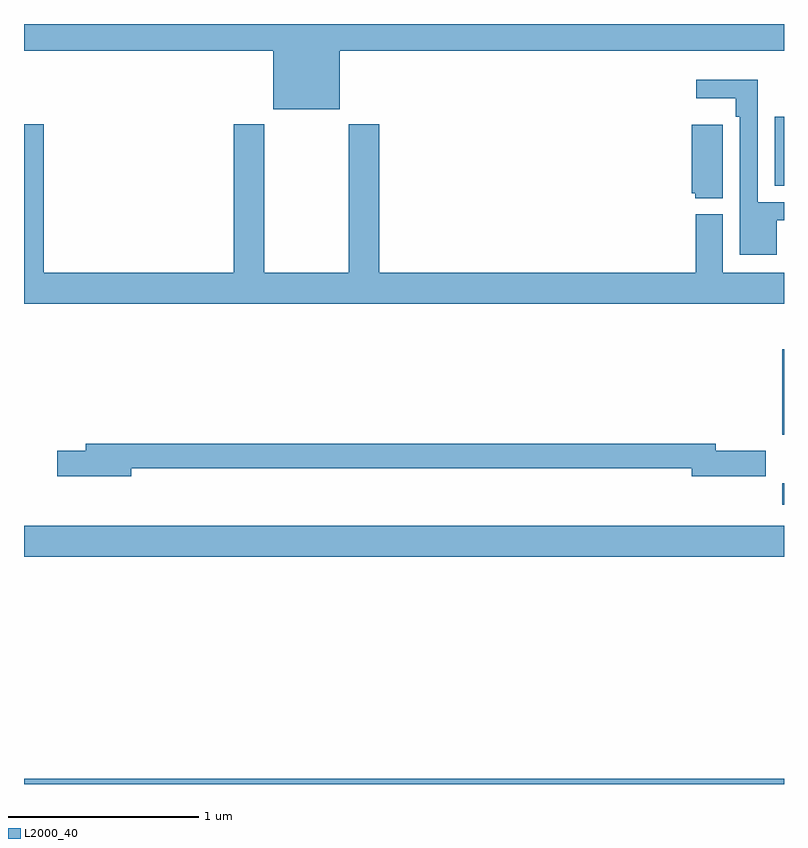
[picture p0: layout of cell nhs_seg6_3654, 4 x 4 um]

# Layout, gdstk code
import gdstk
lib = gdstk.Library(unit=1e-6, precision=1e-09)
def R(c, l, rs):  # rectangles x0, y0, x1, y1
    for r in rs: c.add(gdstk.rectangle(r[:2], r[2:], *l))
def P(c, l, *ps):  # polygons
    for p in ps: c.add(gdstk.Polygon(p, *l))
L2000_40 = (2000, 40)

nhs_seg6_3654 = lib.new_cell('nhs_seg6_3654')
R(nhs_seg6_3654, L2000_40, [(325,919.5,329,919.528), (325,920.696,329,920.86), (328.99,920.97,329,921.082), (328.99,921.337,329,921.787), (328.952,922.648,329,923.011)])
P(nhs_seg6_3654, L2000_40, [(326.662,923.36),(329,923.36),(329,923.5),(325,923.5),(325,923.36),(326.312,923.36),(326.312,923.051),(326.662,923.051)],
  [(328.963,922.467),(329,922.467),(329,922.563),(328.863,922.563),(328.863,923.206),(328.539,923.206),(328.539,923.108),(328.747,923.108),(328.747,923.012),(328.767,923.012),(328.767,922.286),(328.963,922.286)],
  [(329,922.192),(328.678,922.192),(328.678,922.498),(328.535,922.498),(328.535,922.192),(326.87,922.192),(326.87,922.972),(326.71,922.972),(326.71,922.192),(326.265,922.192),(326.265,922.972),(326.105,922.972),(326.105,922.192),(325.103,922.192),(325.103,922.972),(325,922.972),(325,922.028),(329,922.028)],
  [(328.678,922.969),(328.514,922.969),(328.514,922.608),(328.533,922.608),(328.533,922.583),(328.678,922.583)],
  [(325.564,921.162),(328.514,921.162),(328.514,921.119),(328.903,921.119),(328.903,921.254),(328.642,921.254),(328.642,921.29),(325.325,921.29),(325.325,921.254),(325.176,921.254),(325.176,921.119),(325.564,921.119)])

lib.write_gds('nhs_seg6_3654.gds')
